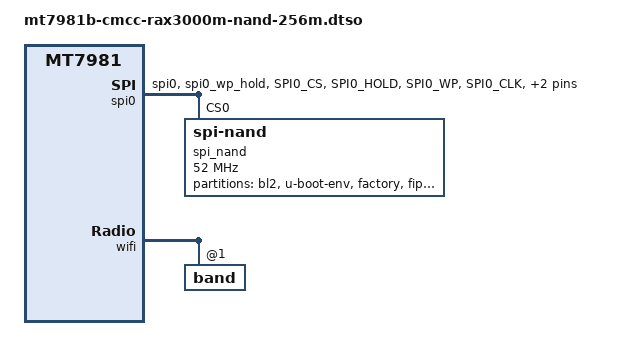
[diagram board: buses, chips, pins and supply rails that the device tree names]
// SPDX-License-Identifier: GPL-2.0-or-later OR MIT
// 
// 256MB NAND Flash 专用配置
// 基于原始 128MB 配置扩展

/dts-v1/;
/plugin/;

#include <dt-bindings/pinctrl/mt65xx.h>

/ {
	compatible = "cmcc,rax3000m-nand-256m", "cmcc,rax3000m", "mediatek,mt7981";

	fragment@0 {
		target = <&chosen>;
		__overlay__ {
			rootdisk = <&ubi_rootdisk>;
		};
	};

	fragment@1 {
		target = <&gmac0>;
		__overlay__ {
			nvmem-cells = <&macaddr_factory_2a 0>;
			nvmem-cell-names = "mac-address";
		};
	};

	fragment@2 {
		target = <&gmac1>;
		__overlay__ {
			nvmem-cells = <&macaddr_factory_24 0>;
			nvmem-cell-names = "mac-address";
		};
	};

	fragment@3 {
		target = <&pio>;
		__overlay__ {
			spi0_flash_pins: spi0-pins {
				mux {
					function = "spi";
					groups = "spi0", "spi0_wp_hold";
				};

				conf-pu {
					pins = "SPI0_CS", "SPI0_HOLD", "SPI0_WP";
					drive-strength = <MTK_DRIVE_8mA>;
					bias-disable; /* bias-disable */
				};

				conf-pd {
					pins = "SPI0_CLK", "SPI0_MOSI", "SPI0_MISO";
					drive-strength = <MTK_DRIVE_8mA>;
					bias-disable; /* bias-disable */
				};
			};
		};
	};

	fragment@4 {
		target = <&spi0>;
		__overlay__ {
			#address-cells = <1>;
			#size-cells = <0>;
			pinctrl-names = "default";
			pinctrl-0 = <&spi0_flash_pins>;
			status = "okay";

			spi_nand@0 {
				compatible = "spi-nand";
				reg = <0>;

				spi-max-frequency = <52000000>;
				spi-tx-bus-width = <4>;
				spi-rx-bus-width = <4>;

				/* 关键: NMBM 配置 - 256MB 专用 */
				mediatek,nmbm;
				mediatek,bmt-max-ratio = <1>;
				mediatek,bmt-max-reserved-blocks = <64>;
				/* 
				 * remap-range: 起始地址必须 >= firmware partition 结束地址
				 * 128MB firmware 结束 = 0x8000000
				 * 256MB NAND 结束 = 0x10000000
				 * 所以 remap 范围: 0x8000000 ~ 0x10000000
				 */
				mediatek,bmt-remap-range = <0x8000000 0x10000000>;

				partitions {
					compatible = "fixed-partitions";
					#address-cells = <1>;
					#size-cells = <1>;

					partition@0 {
						label = "bl2";
						reg = <0x00000 0x0100000>;
						read-only;
					};

					partition@100000 {
						label = "u-boot-env";
						reg = <0x100000 0x80000>;
					};

					partition@180000 {
						label = "factory";
						reg = <0x180000 0x200000>;
						read-only;

						nvmem-layout {
							compatible = "fixed-layout";
							#address-cells = <1>;
							#size-cells = <1>;

							eeprom_factory_0: eeprom@0 {
								reg = <0x0 0x1000>;
							};

							macaddr_factory_a: macaddr@a {
								compatible = "mac-base";
								reg = <0xa 0x6>;
								#nvmem-cell-cells = <1>;
							};

							macaddr_factory_24: macaddr@24 {
								compatible = "mac-base";
								reg = <0x24 0x6>;
								#nvmem-cell-cells = <1>;
							};

							macaddr_factory_2a: macaddr@2a {
								compatible = "mac-base";
								reg = <0x2a 0x6>;
								#nvmem-cell-cells = <1>;
							};
						};
					};

					partition@380000 {
						label = "fip";
						reg = <0x380000 0x200000>;
						read-only;
					};

					/*
					 * 256MB 布局优化:
					 * - 原始配置: UBI 从 0x580000 ~ 0x7800000 (128MB firmware)
					 * - 新增配置: UBI 从 0x580000 ~ 0xFFE0000 (256MB firmware)
					 * 相比原来增加了 ~120MB 的 UBI 可用空间
					 * 
					 * 计算公式:
					 * - 总容量: 256MB = 0x10000000
					 * - 预留签名区: 2 blocks = 0x20000
					 * - UBI 可用: 0x10000000 - 0x580000 - 0x20000 = 0xFAE0000
					 * 
					 * 实际使用更保守的设置:
					 * - UBI 范围: 0x580000 ~ 0xFFE0000
					 * - 大小: 0xFAE0000 (约 250MB)
					 * - 预留给 NMBM 管理: 约 6MB (足够了)
					 */
					partition@580000 {
						compatible = "linux,ubi";
						label = "ubi";
						reg = <0x580000 0xFAE0000>;

						volumes {
							ubi_rootdisk: ubi-volume-fit {
								volname = "fit";
							};
						};
					};
				};
			};
		};
	};

	fragment@5 {
		target = <&wifi>;
		__overlay__ {
			#address-cells = <1>;
			#size-cells = <0>;
			nvmem-cells = <&eeprom_factory_0>;
			nvmem-cell-names = "eeprom";

			band@1 {
				reg = <1>;
				nvmem-cells = <&macaddr_factory_a 0>;
				nvmem-cell-names = "mac-address";
			};
		};
	};
};
